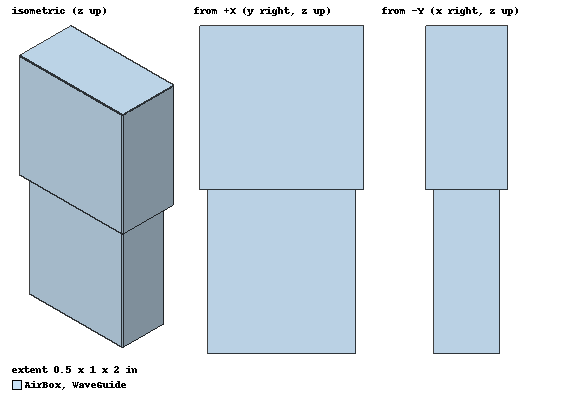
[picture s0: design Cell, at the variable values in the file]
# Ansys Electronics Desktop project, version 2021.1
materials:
  vacuum: permittivity=1

design Cell (HFSS, DrivenModal, model units in)
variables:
  phi_scan = 0deg
  theta_scan = 30deg
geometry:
  WaveGuide [vacuum] = box(corner=(0in, 0in, 0in), size=(0.4in, 0.9in, 1in))
  AirBox [vacuum] = box(corner=(-0.05in, -0.05in, 1in), size=(0.5in, 1in, 1in))
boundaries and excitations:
  Primary1: Primary Faces=AirBox.face(+x) CoordSysVector{AirBox.vertex(6 of 8) -> AirBox.edge(5 of 12) at 0.725 along} ReverseV
  Secondary1: Secondary Faces=AirBox.face(-x) CoordSysVector{AirBox.vertex(7 of 8) -> AirBox.vertex(8 of 8)} primary=Primary1 PhaseDelay=UseScanAngle Phi=phi_scan Theta=theta_scan
  Primary2: Primary Faces=AirBox.face(+y) CoordSysVector{AirBox.vertex(5 of 8) -> AirBox.edge(8 of 12) at 0.75 along} ReverseV
  Secondary2: Secondary Faces=AirBox.face(-y) CoordSysVector{AirBox.vertex(6 of 8) -> middle of AirBox.edge(6 of 12)} primary=Primary2 PhaseDelay=UseScanAngle Phi=phi_scan Theta=theta_scan
  FloquetPort1: Floquet Port Faces=AirBox.face(+z) NumModes=4 Modes{Mode1{CharImp=Zpi} Mode2{CharImp=Zpi} Mode3{CharImp=Zpi} Mode4{CharImp=Zpi}} PhaseDelay=UseScanAngle Phi=phi_scan Theta=theta_scan LatticeAVector{AirBox.vertex(1 of 8) -> AirBox.vertex(2 of 8)} LatticeBVector{AirBox.vertex(1 of 8) -> middle of AirBox.edge(4 of 12)} ModesCalculator{Frequency=9.5GHz FrequencyChanged PhiStart=0deg PhiStop=90deg PhiStep=0.5deg ThetaStart=0deg ThetaStop=90deg ThetaStep=0.5deg} ModesList{Mode{ModeNumber=1 IndexM=0 IndexN=0 KC2=0 PropagationState=Propagating Attenuation=0 PolarizationState=TE AffectsRefinement} Mode{ModeNumber=2 IndexM=0 IndexN=0 KC2=0 PropagationState=Propagating Attenuation=0 PolarizationState=TM AffectsRefinement} Mode{ModeNumber=3 IndexM=-1 IndexN=0 KC2=0 PropagationState=Propagating Attenuation=0 PolarizationState=TE AffectsRefinement} Mode{ModeNumber=4 IndexM=-1 IndexN=0 KC2=0 PropagationState=Propagating Attenuation=0 PolarizationState=TM AffectsRefinement}}
  P1: Wave Port Faces=WaveGuide.face(-z) NumModes=1 Modes{Mode1{CharImp=Zpi}}
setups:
  Setup1: HfssDriven Frequency=9.5GHz MaxDeltaS=0.02 MaximumPasses=10 MinimumPasses=1 MinimumConvergedPasses=1 PercentRefinement=30 BasisOrder=1 PortAccuracy=2
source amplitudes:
  FloquetPort1:1: 1W 0deg
  FloquetPort1:2, FloquetPort1:3, FloquetPort1:4, P1:1: 0W 0deg
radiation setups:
  2D Plans: Infinite Sphere Theta=-90deg..90deg step 2deg Phi=0deg..90deg step 90deg
  3D Sphere: Infinite Sphere Theta=0deg..90deg step 2deg Phi=0deg..360deg step 2deg
  antenna array: RegularArray NumUCells=25 NumVCells=25 CellUDist=0.5in CellVDist=1in UDirnX=1 UDirnY=0 UDirnZ=0 VDirnX=0 VDirnY=1 VDirnZ=0 FirstCellPosX=0in FirstCellPosY=0in FirstCellPosZ=0in Behavior=UseSlaveSettings ScanAnglePhi=phi_scan ScanAngleTheta=theta_scan UDirnPhaseShift=0deg VDirnPhaseShift=0deg
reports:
  rE Plot 1: dB(rETotal) vs Theta on Setup1 : LastAdaptive, 2D Plans [Phi=all Freq=9.5GHz]
  rE Plot 2: dB(rETotal) vs Phi, Theta on Setup1 : LastAdaptive, 3D Sphere [Freq=9.5GHz]
